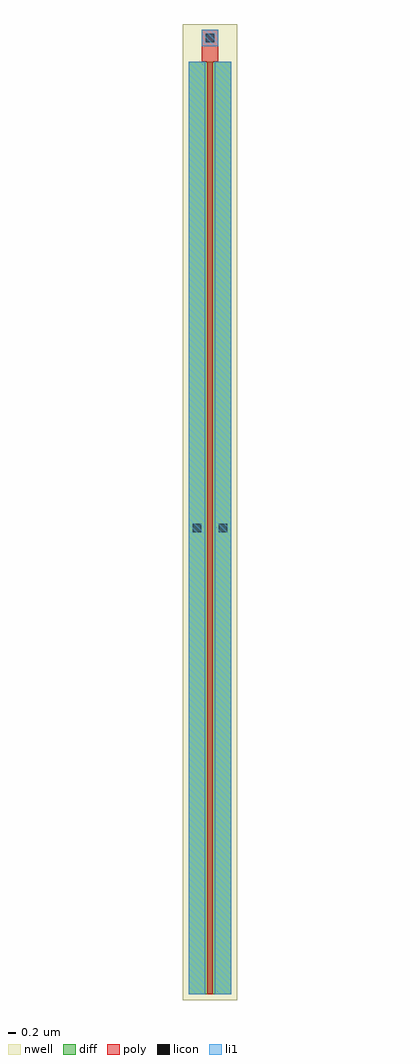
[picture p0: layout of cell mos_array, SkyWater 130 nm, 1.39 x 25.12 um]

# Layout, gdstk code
import gdstk
lib = gdstk.Library(unit=1e-6, precision=1e-09)
def R(c, l, rs):  # rectangles x0, y0, x1, y1
    for r in rs: c.add(gdstk.rectangle(r[:2], r[2:], *l))
nwell = (64, 20)
diff = (65, 20)
poly = (66, 20)
licon = (66, 44)
li1 = (67, 20)

mos_array = lib.new_cell('mos_array')
R(mos_array, nwell, [(-0.15,-0.15,1.24,24.97)])
R(mos_array, diff, [(0,0,1.09,24)])
R(mos_array, poly, [(0.47,0,0.62,24), (0.335,24,0.755,24.82)])
R(mos_array, licon, [(0.1,11.89,0.32,12.11), (0.77,11.89,0.99,12.11), (0.435,24.5,0.655,24.72)])
R(mos_array, li1, [(0,0,0.42,24), (0.67,0,1.09,24), (0.335,24.4,0.755,24.82)])

lib.write_gds('mos_array.gds')
